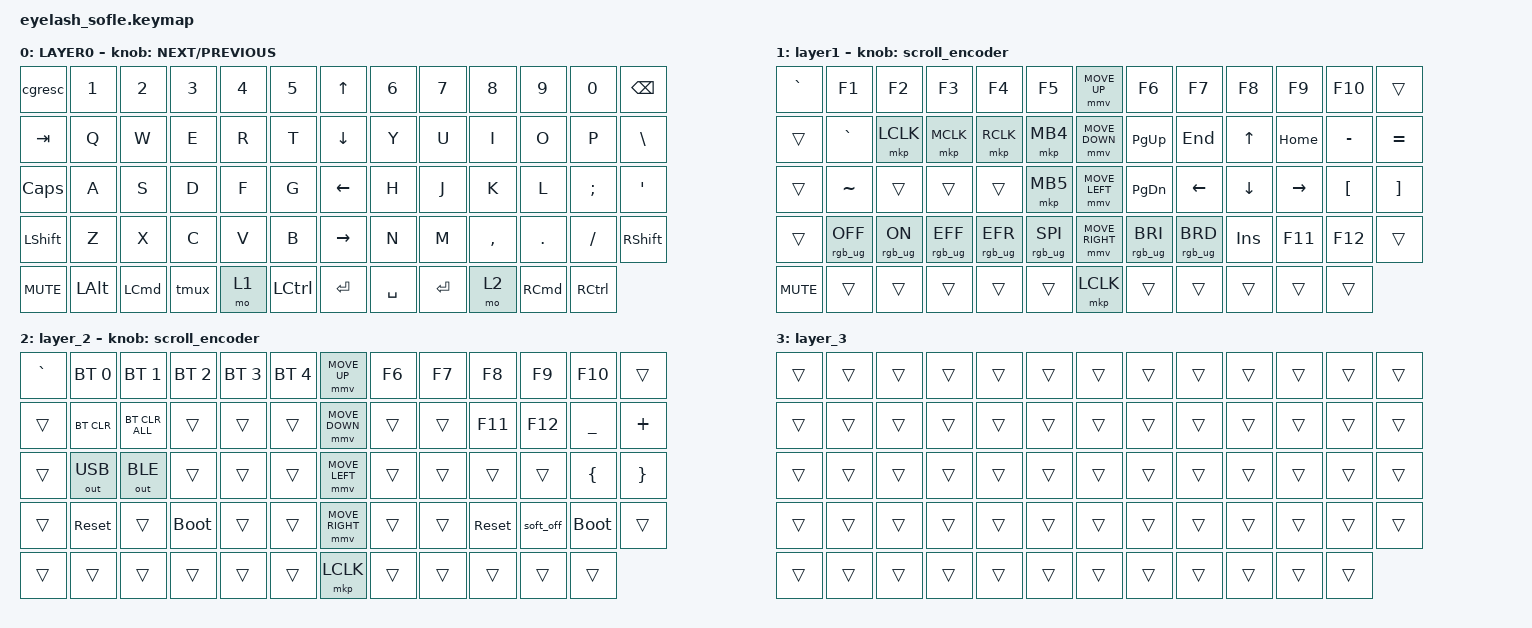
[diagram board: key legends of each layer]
#define ZMK_POINTING_DEFAULT_MOVE_VAL 1200  // 600
#define ZMK_POINTING_DEFAULT_SCRL_VAL 25   // 10

#include <input/processors.dtsi>
#include <zephyr/dt-bindings/input/input-event-codes.h>
#include <behaviors.dtsi>
#include <dt-bindings/zmk/bt.h>
#include <dt-bindings/zmk/ext_power.h>
#include <dt-bindings/zmk/keys.h>
#include <dt-bindings/zmk/outputs.h>
#include <dt-bindings/zmk/pointing.h>
#include <dt-bindings/zmk/rgb.h>

&mmv_input_listener { input-processors = <&zip_xy_scaler 2 1>; };

&msc_input_listener { input-processors = <&zip_scroll_scaler 2 1>; };

&msc {
    acceleration-exponent = <1>;      // 0
    time-to-max-speed-ms = <100>;       // 300
    delay-ms = <0>;                   // 0
};

&mmv {
    time-to-max-speed-ms = <500>;
    acceleration-exponent = <1>;
    trigger-period-ms = <16>;
};

/ {
    scroll_encoder: scroll_encoder {
        compatible = "zmk,behavior-sensor-rotate";
        #sensor-binding-cells = <0>;
        bindings = <&msc SCRL_DOWN>, <&msc SCRL_UP>;

        tap-ms = <100>;
    };

    macros {
        tmux: tmux {
            compatible = "zmk,behavior-macro";
            #binding-cells = <0>;
            bindings
                = <&macro_press &kp LCTRL>
                , <&macro_tap &kp B>
                , <&macro_release &kp LCTRL>
                ;
            label = "TMUX";
        };
    };

    behaviors {
        cgresc: custom_grave_escape {
            compatible = "zmk,behavior-mod-morph";
            #binding-cells = <0>;
            bindings = <&kp ESC>, <&kp TILDE>;
            mods = <(MOD_LSFT|MOD_RSFT)>;
        };
    };

    keymap {
        compatible = "zmk,keymap";

        layer0 {
            bindings = <
&cgresc     &kp N1     &kp N2            &kp N3        &kp N4  &kp N5    &kp UP_ARROW     &kp N6     &kp N7     &kp N8     &kp N9           &kp N0     &kp BACKSPACE
&kp TAB     &kp Q      &kp W             &kp E         &kp R   &kp T     &kp DOWN_ARROW   &kp Y      &kp U      &kp I      &kp O            &kp P      &kp BSLH
&kp CAPS    &kp A      &kp S             &kp D         &kp F   &kp G     &kp LEFT_ARROW   &kp H      &kp J      &kp K      &kp L            &kp SEMI   &kp APOS
&kp LSHFT   &kp Z      &kp X             &kp C         &kp V   &kp B     &kp RIGHT_ARROW  &kp N      &kp M      &kp COMMA  &kp DOT          &kp FSLH   &kp RIGHT_SHIFT
&kp C_MUTE  &kp LEFT_ALT  &kp LEFT_COMMAND  &tmux  &mo 1   &kp LCTRL     &kp ENTER        &kp SPACE  &kp ENTER  &mo 2      &kp RIGHT_COMMAND  &kp RCTRL
            >;

            sensor-bindings = <&inc_dec_kp C_NEXT C_PREVIOUS>;
            display-name = "LAYER0";
        };

        layer_1 {
            bindings = <
&kp GRAVE   &kp F1           &kp F2          &kp F3           &kp F4           &kp F5             &mmv MOVE_UP     &kp F6           &kp F7           &kp F8      &kp F9     &kp F10           &trans
&trans      &kp GRAVE        &mkp LCLK       &mkp MCLK        &mkp RCLK        &mkp MB4           &mmv MOVE_DOWN   &kp PG_UP        &kp END          &kp UP      &kp HOME   &kp MINUS         &kp EQUAL
&trans      &kp TILDE        &trans          &trans           &trans           &mkp MB5           &mmv MOVE_LEFT   &kp PG_DN        &kp LEFT         &kp DOWN    &kp RIGHT  &kp LEFT_BRACKET  &kp RIGHT_BRACKET
&trans      &rgb_ug RGB_OFF  &rgb_ug RGB_ON  &rgb_ug RGB_EFF  &rgb_ug RGB_EFR  &rgb_ug RGB_SPI    &mmv MOVE_RIGHT  &rgb_ug RGB_BRI  &rgb_ug RGB_BRD  &kp INSERT  &kp F11    &kp F12           &trans
&kp C_MUTE  &trans           &trans          &trans           &trans           &trans             &mkp LCLK        &trans           &trans           &trans      &trans     &trans
            >;

            display-name = "layer1";
            sensor-bindings = <&scroll_encoder>;
        };

        layer_2 {
            bindings = <
&kp GRAVE  &bt BT_SEL 0  &bt BT_SEL 1    &bt BT_SEL 2  &bt BT_SEL 3  &bt BT_SEL 4    &mmv MOVE_UP     &kp F6  &kp F7  &kp F8      &kp F9     &kp F10      &trans
&trans     &bt BT_CLR    &bt BT_CLR_ALL  &trans        &trans        &trans          &mmv MOVE_DOWN   &trans  &trans  &kp F11     &kp F12    &kp UNDER    &kp PLUS
&trans     &out OUT_USB  &out OUT_BLE    &trans        &trans        &trans          &mmv MOVE_LEFT   &trans  &trans  &trans      &trans     &kp LBRC     &kp RBRC
&trans     &sys_reset    &trans          &bootloader   &trans        &trans          &mmv MOVE_RIGHT  &trans  &trans  &sys_reset  &soft_off  &bootloader  &trans
&trans     &trans        &trans          &trans        &trans        &trans          &mkp LCLK        &trans  &trans  &trans      &trans     &trans
            >;

            sensor-bindings = <&scroll_encoder>;
        };

        layer_3 {
            bindings = <
&trans  &trans  &trans  &trans  &trans  &trans    &trans  &trans  &trans  &trans  &trans  &trans  &trans
&trans  &trans  &trans  &trans  &trans  &trans    &trans  &trans  &trans  &trans  &trans  &trans  &trans
&trans  &trans  &trans  &trans  &trans  &trans    &trans  &trans  &trans  &trans  &trans  &trans  &trans
&trans  &trans  &trans  &trans  &trans  &trans    &trans  &trans  &trans  &trans  &trans  &trans  &trans
&trans  &trans  &trans  &trans  &trans  &trans    &trans  &trans  &trans  &trans  &trans  &trans
            >;
        };
    };
};
